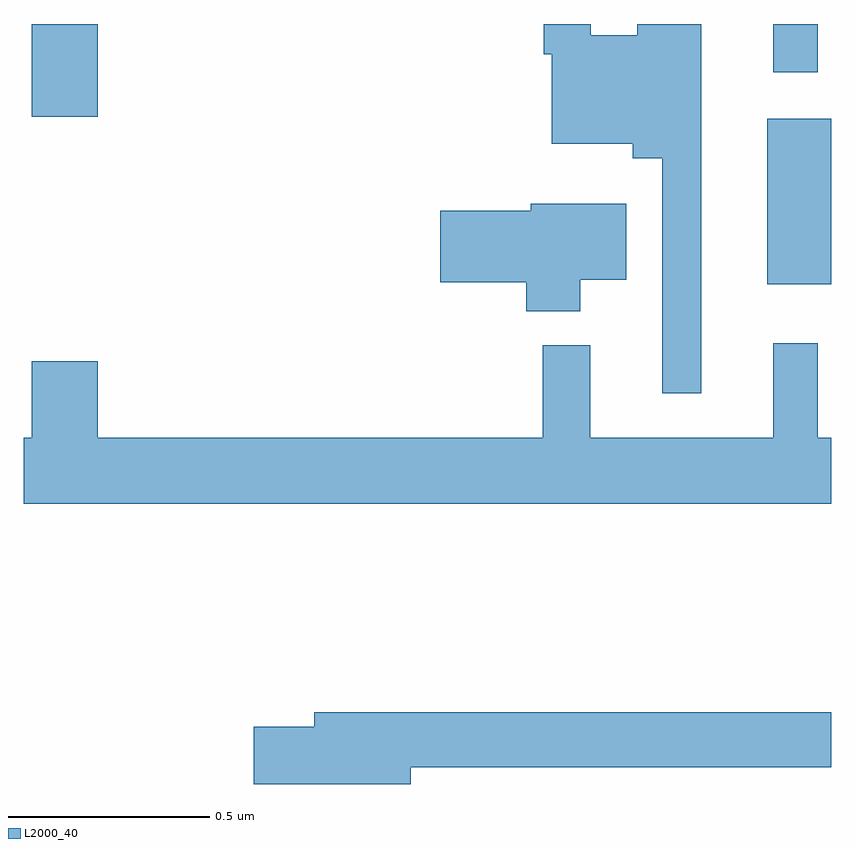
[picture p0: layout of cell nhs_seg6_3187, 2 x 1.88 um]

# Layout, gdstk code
import gdstk
lib = gdstk.Library(unit=1e-6, precision=1e-09)
def R(c, l, rs):  # rectangles x0, y0, x1, y1
    for r in rs: c.add(gdstk.rectangle(r[:2], r[2:], *l))
def P(c, l, *ps):  # polygons
    for p in ps: c.add(gdstk.Polygon(p, *l))
L2000_40 = (2000, 40)

nhs_seg6_3187 = lib.new_cell('nhs_seg6_3187')
R(nhs_seg6_3187, L2000_40, [(154.841,971.855,155,972.265), (153.02,972.27,153.184,972.5), (154.856,972.381,154.966,972.5)])
P(nhs_seg6_3187, L2000_40, [(154.678,972.5),(154.52,972.5),(154.52,972.472),(154.404,972.472),(154.404,972.5),(154.288,972.5),(154.288,972.425),(154.308,972.425),(154.308,972.203),(154.508,972.203),(154.508,972.167),(154.581,972.167),(154.581,971.586),(154.678,971.586)],
  [(154.378,971.867),(154.492,971.867),(154.492,972.055),(154.256,972.055),(154.256,972.038),(154.032,972.038),(154.032,971.86),(154.244,971.86),(154.244,971.789),(154.378,971.789)],
  [(155,971.476),(154.966,971.476),(154.966,971.71),(154.856,971.71),(154.856,971.476),(154.403,971.476),(154.403,971.704),(154.285,971.704),(154.285,971.476),(153.184,971.476),(153.184,971.665),(153.02,971.665),(153.02,971.476),(153,971.476),(153,971.312),(155,971.312)],
  [(153.958,970.66),(155,970.66),(155,970.796),(153.719,970.796),(153.719,970.76),(153.57,970.76),(153.57,970.618),(153.958,970.618)])

lib.write_gds('nhs_seg6_3187.gds')
